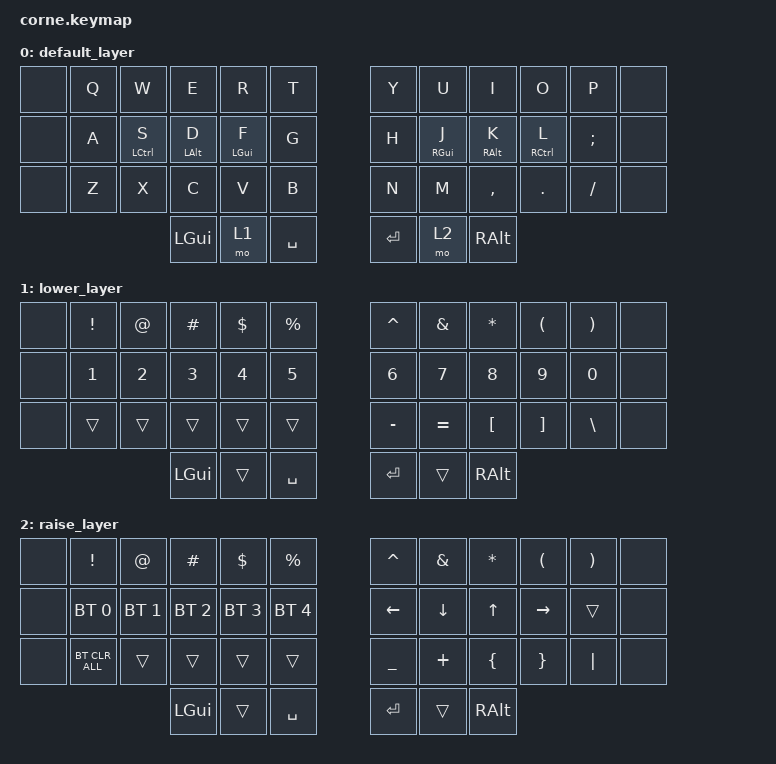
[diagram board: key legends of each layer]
/*
 * Copyright (c) 2020 The ZMK Contributors
 *
 * SPDX-License-Identifier: MIT
 */

#include <behaviors.dtsi>
#include <dt-bindings/zmk/keys.h>
#include <dt-bindings/zmk/bt.h>

/ {
        keymap {
                compatible = "zmk,keymap";

                default_layer {
// -----------------------------------------------------------------------------------------
//   Q  |  W  |  E  |  R  |  T  |   |  Y  |  U   |  I  |  O  |  P  
//   A  |  S  |  D  |  F  |  G  |   |  H  |  J   |  K  |  L  |  ;  
//   Z  |  X |  C  |  V  |  B  |   |  N  |  M   |  ,  |  .  |  /  
//            | GUI | LWR | SPC |   | ENT | RSE  | ALT |
                        bindings = <
   &none &kp Q &kp W &kp E &kp R &kp T  &kp Y &kp U  &kp I     &kp O   &kp P   &none 
   &none &kp A &mt LCTRL S &mt LALT D &mt LGUI F &kp G   &kp H &mt RGUI J  &mt RALT K &mt RCTRL L &kp SEMI &none 
   &none &kp Z &kp X &kp C &kp V &kp B   &kp N &kp M  &kp COMMA &kp DOT &kp FSLH &none 
        &kp LGUI &mo 1 &kp SPACE   &kp RET &mo 2 &kp RALT
              >;
      };
      lower_layer {
// -----------------------------------------------------------------------------------------
//   !  |  @  |  #  |  $  |  %  |   |  ^  |  &  |  *  |  (  |  )  
//   1  |  2  |  3  |  4  |  5  |   |  6  |  7  |  8  |  9  |  0  
//  BT1 | BT2 | BT3 | BT4 | BT5 |   | LFT | DWN |  UP | RGT |     
//                    | GUI |     | SPC |   | ENT |     | ALT |
                        bindings = <
    &none &kp EXCL &kp AT &kp HASH &kp DLLR &kp PRCNT   &kp CARET &kp AMPS  &kp ASTRK &kp LPAR &kp RPAR &none
    &none &kp N1       &kp N2       &kp N3       &kp N4       &kp N5         &kp N6   &kp N7   &kp N8 &kp N9 &kp N0 &none    
    &none &trans   &trans &trans   &trans   &trans      &kp MINUS &kp EQUAL &kp LBKT  &kp RBKT &kp BSLH &none
                          &kp LGUI     &trans       &kp SPACE      &kp RET  &trans   &kp RALT
              >;
      };
                raise_layer {
// -----------------------------------------------------------------------------------------
//   !  |  @  |  #  |  $  |  %  |   |  ^  |  &  |  *  |  (  |  )  
//      |     |     |     |     |   |  -  |  =  |  [  |  ]  |  \  
//      |     |     |     |     |   |  _  |  +  |  {  |  }  | "|" 
//                    | GUI |     | SPC |   | ENT |     | ALT |
                        bindings = <
   &none &kp EXCL &kp AT &kp HASH &kp DLLR &kp PRCNT   &kp CARET &kp AMPS  &kp ASTRK &kp LPAR &kp RPAR &none
   &none &bt BT_SEL 0 &bt BT_SEL 1 &bt BT_SEL 2 &bt BT_SEL 3 &bt BT_SEL 4   &kp LEFT &kp DOWN &kp UP &kp RIGHT &trans &none
   &none &bt BT_CLR_ALL   &trans &trans   &trans   &trans      &kp UNDER &kp PLUS  &kp LBRC  &kp RBRC &kp PIPE &none
                             &kp LGUI &trans   &kp SPACE   &kp RET   &trans    &kp RALT
                        >;
                };
        };
};
